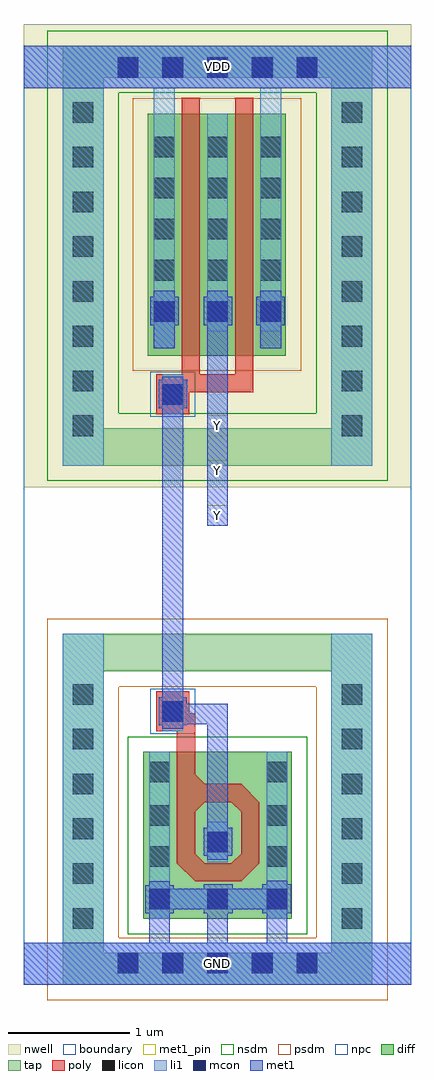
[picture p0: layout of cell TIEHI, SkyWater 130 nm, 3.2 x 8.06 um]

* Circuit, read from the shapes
.subckt TIEHI GND VDD Y
XM1 GND n1 n1 GND sky130_fd_pr__nfet_01v8 w=2.56 l=0.1464
XM2 Y n1 VDD VDD sky130_fd_pr__pfet_01v8 w=2 l=0.15 m=2
.ends

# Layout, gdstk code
from math import pi, radians
import gdstk
lib = gdstk.Library(unit=1e-6, precision=1e-09)
def R(c, l, rs):  # rectangles x0, y0, x1, y1
    for r in rs: c.add(gdstk.rectangle(r[:2], r[2:], *l))
def A(c, l, x, y, w, h, nx, ny, dx, dy):  # array of equal rectangles
    R(c, l, [(x+i*dx, y+j*dy, x+i*dx+w, y+j*dy+h) for i in range(nx) for j in range(ny)])
def P(c, l, *ps):  # polygons
    for p in ps: c.add(gdstk.Polygon(p, *l))
nwell = (64, 20)
diff = (65, 20)
tap = (65, 44)
poly = (66, 20)
licon = (66, 44)
li1 = (67, 20)
mcon = (67, 44)
met1_pin = (68, 16)
met1 = (68, 20)
nsdm = (93, 44)
psdm = (94, 20)
npc = (95, 20)
boundary = (235, 4)

poly_li1_contact = lib.new_cell('poly_li1_contact')
R(poly_li1_contact, poly, [(-0.16,-0.14,0.17,0.13)])
R(poly_li1_contact, licon, [(-0.08,-0.09,0.09,0.08)])
R(poly_li1_contact, li1, [(-0.16,-0.09,0.17,0.08)])
R(poly_li1_contact, npc, [(-0.18,-0.19,0.19,0.18)])

pmos2 = lib.new_cell('pmos2')
R(pmos2, nwell, [(0.26,-2.18,1.76,0.18)])
R(pmos2, diff, [(0.44,-2,1.58,0)])
R(pmos2, poly, [(0.72,-2.305,1.31,-2.155), (0.72,-2.155,0.87,0.13), (1.16,-2.155,1.31,0.13)])
A(pmos2, licon, 0.49, -1.38, 0.17, 0.17, 3, 4, 0.44, 0.34)
R(pmos2, li1, [(0.49,-1.465,0.66,0.21), (0.93,-1.465,1.1,0), (1.37,-1.465,1.54,0.21)])
R(pmos2, psdm, [(0.315,-2.125,1.705,0.125)])

nmos_top = lib.new_cell('nmos_top')
R(nmos_top, diff, [(0,0,1.23,1.38)])
R(nmos_top, poly, [(0.42,0.31,0.8,0.46), (0.27,0.46,0.42,0.965), (0.8,0.46,0.95,0.965), (0.42,0.965,0.95,1.115), (0.8,1.115,0.95,1.54)])
P(nmos_top, poly, [(0.72,1.115),(0.8,1.115),(0.8,1.195)],
  [(0.27,0.965),(0.42,0.965),(0.42,1.115)],
  [(0.42,0.885),(0.42,0.965),(0.5,0.965)],
  [(0.72,0.965),(0.8,0.965),(0.8,0.885)],
  [(0.42,0.54),(0.42,0.46),(0.5,0.46)],
  [(0.72,0.46),(0.8,0.46),(0.8,0.54)],
  [(0.27,0.46),(0.42,0.46),(0.42,0.31)],
  [(0.8,0.31),(0.8,0.46),(0.95,0.46)])
R(nmos_top, licon, [(0.04,0.08,0.21,0.25), (0.53,0.08,0.7,0.25), (1.01,0.08,1.18,0.25), (0.04,0.43,0.21,0.6), (1.01,0.43,1.18,0.6), (0.53,0.55,0.7,0.72), (0.04,0.77,0.21,0.94), (1.01,0.77,1.18,0.94), (0.04,1.13,0.21,1.3), (1.01,1.13,1.18,1.3)])
R(nmos_top, li1, [(0.04,0,0.21,0.08), (1.01,0,1.18,0.08), (0.04,0.08,1.18,0.25), (0.04,0.25,0.21,1.38), (1.01,0.25,1.18,1.38), (0.53,0.47,0.7,0.805)])
R(nmos_top, nsdm, [(-0.125,-0.125,1.355,1.505)])

diff_ring_side = lib.new_cell('diff_ring_side')
R(diff_ring_side, nwell, [(-0.435,3.93,0.435,7.75)])
R(diff_ring_side, tap, [(-0.17,-0.17,0.17,2.72), (-0.17,4.11,0.17,7.57)])
A(diff_ring_side, licon, -0.085, 0.285, 0.17, 0.17, 1, 6, 0, 0.37)
A(diff_ring_side, licon, -0.085, 4.355, 0.17, 0.17, 1, 8, 0, 0.37)
R(diff_ring_side, li1, [(-0.17,-0.17,0.17,2.72), (-0.17,4.11,0.17,7.57)])
R(diff_ring_side, met1, [(-0.17,-0.17,0.17,0.17), (-0.17,7.23,0.17,7.57)])
R(diff_ring_side, nsdm, [(-0.295,3.985,0.295,7.695)])
R(diff_ring_side, psdm, [(-0.295,-0.295,0.295,2.845)])

tiehi = lib.new_cell('TIEHI')
R(tiehi, nwell, [(0,4.11,3.2,7.94)])
A(tiehi, diff, 1.075, 5.48, 0.17, 0.17, 3, 1, 0.44, 0)
R(tiehi, diff, [(1.515,0.625,1.685,0.795), (2.005,0.625,2.175,0.795)])
R(tiehi, tap, [(0.32,0,2.88,0.025), (0.66,0.025,2.54,0.265), (0.66,2.59,2.54,2.9), (0.66,4.29,2.54,4.6), (0.66,7.495,2.54,7.75), (0.32,7.75,2.88,7.76)])
R(tiehi, poly, [(1.265,2.085,1.415,2.245)])
A(tiehi, licon, 0.775, 0.095, 0.17, 0.17, 5, 2, 0.37, 7.4)
A(tiehi, licon, 1.075, 5.48, 0.17, 0.17, 3, 1, 0.44, 0)
R(tiehi, licon, [(1.515,0.625,1.685,0.795), (2.005,0.625,2.175,0.795)])
R(tiehi, li1, [(0,0,3.2,0.35), (1.035,0.625,1.205,0.795), (1.515,0.625,1.685,0.795), (2.005,0.625,2.175,0.795), (1.515,1.095,1.685,1.265), (1.145,2.175,1.315,2.345), (1.145,4.795,1.315,4.965), (1.075,5.26,1.245,5.855), (1.515,5.4,1.685,5.755), (1.955,5.4,2.125,5.745), (0,7.41,3.2,7.76)])
A(tiehi, mcon, 0.775, 0.095, 0.17, 0.17, 5, 2, 0.37, 7.4)
A(tiehi, mcon, 1.075, 5.48, 0.17, 0.17, 3, 1, 0.44, 0)
R(tiehi, mcon, [(1.035,0.625,1.205,0.795), (1.515,0.625,1.685,0.795), (2.005,0.625,2.175,0.795), (1.515,1.095,1.685,1.265), (1.145,2.175,1.315,2.345), (1.145,4.795,1.315,4.965)])
A(tiehi, met1_pin, 1.515, 3.795, 0.17, 0.17, 1, 3, 0, 0.37)
R(tiehi, met1_pin, [(0,0,3.2,0.35), (0,7.41,3.2,7.76)])
A(tiehi, met1, 1.075, 5.685, 0.17, 0.05, 3, 1, 0.44, 0)
R(tiehi, met1, [(0,0,3.2,0.35), (1.035,0.35,1.205,0.59), (1.515,0.35,1.685,0.59), (2.005,0.35,2.175,0.59), (1.005,0.59,1.24,0.625), (1.485,0.59,1.72,0.595), (1.97,0.59,2.21,0.625), (1.485,0.595,1.725,0.625), (1.005,0.625,2.21,0.795), (1.005,0.795,1.24,0.825), (1.485,0.795,1.725,0.83), (1.97,0.795,2.21,0.83), (1.035,0.825,1.205,0.855), (2.005,0.83,2.175,0.86), (1.515,1.035,1.685,1.065), (1.485,1.065,1.72,1.3), (1.515,1.3,1.685,2.155), (1.145,2.115,1.315,2.145), (1.115,2.145,1.345,2.155), (1.115,2.155,1.685,2.325), (1.115,2.325,1.345,2.375), (1.145,2.375,1.315,4.765), (1.515,3.795,1.685,5.45), (1.115,4.765,1.35,5), (1.145,5,1.315,5.025), (1.075,5.26,1.245,5.45), (1.955,5.26,2.125,5.45), (1.045,5.45,1.28,5.685), (1.485,5.45,1.72,5.685), (1.92,5.45,2.155,5.685), (0,7.41,3.2,7.76)])
R(tiehi, nsdm, [(1.39,0.5,2.3,0.92), (0.535,4.165,2.665,4.725), (0.535,7.37,2.665,7.625), (0.195,7.625,3.005,7.885)])
R(tiehi, psdm, [(0.195,-0.125,3.005,0.15), (0.535,0.15,2.665,0.39), (0.535,2.465,2.665,3.025), (0.95,5.355,2.25,5.775)])
R(tiehi, boundary, [(0,0,3.2,7.76)])
tiehi.add(gdstk.Reference(poly_li1_contact, (1.235,2.265), rotation=3*pi/2))
tiehi.add(gdstk.Reference(poly_li1_contact, (1.235,4.885), rotation=3*pi/2))
tiehi.add(gdstk.Reference(pmos2, (0.585,7.2)))
tiehi.add(gdstk.Reference(nmos_top, (2.215,0.545), rotation=pi, x_reflection=True))
tiehi.add(gdstk.Reference(diff_ring_side, (0.49,0.18)))
tiehi.add(gdstk.Reference(diff_ring_side, (2.71,0.18)))
tiehi.add(gdstk.Label('Y', (1.6,3.88), layer=68, texttype=5))
tiehi.add(gdstk.Label('Y', (1.6,4.25), layer=68, texttype=5))
tiehi.add(gdstk.Label('Y', (1.6,4.62), layer=68, texttype=5))
tiehi.add(gdstk.Label('VDD', (1.6,7.585), layer=68, texttype=5))
tiehi.add(gdstk.Label('GND', (1.6,0.175), layer=68, texttype=5))

lib.write_gds('TIEHI.gds')
